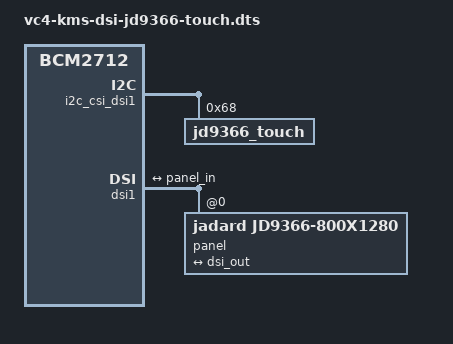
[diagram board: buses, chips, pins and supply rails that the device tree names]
/dts-v1/;
/plugin/;

/ {
	compatible = "raspberrypi,5-model-b", "brcm,bcm2712";

	fragment@0 {
		target = <&i2c_csi_dsi1>;
		__overlay__ {
			#address-cells = <1>;
			#size-cells = <0>;
			status = "okay";

			jd9366_touch: touchscreen@68 {
				compatible = "jd9366_touch";
				reg = <0x68>;
				status = "okay";

				touchscreen-size-x = <800>;
				touchscreen-size-y = <1280>;

				/* 可选：有接线时再打开
				interrupt-parent = <&gpio>;
				interrupts = <17 IRQ_TYPE_EDGE_FALLING>;
				reset-gpios = <&gpio 27 GPIO_ACTIVE_LOW>;
				*/
			};
		};
	};

	fragment@1 {
		target = <&dsi1>;
		__overlay__ {
			status = "okay";
			#address-cells = <1>;
			#size-cells = <0>;

			port {
				dsi_out: endpoint {
					remote-endpoint = <&panel_in>;
				};
			};

			panel@0 {
				compatible = "jadard,jd9366-800x1280";
				reg = <0>;
				status = "okay";

				/* 如果有 Reset 引脚，取消注释并改写实际 GPIO */
				/* reset-gpios = <&gpio 17 1>; */

				port {
					panel_in: endpoint {
						remote-endpoint = <&dsi_out>;
					};
				};
			};
		};
	};
};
